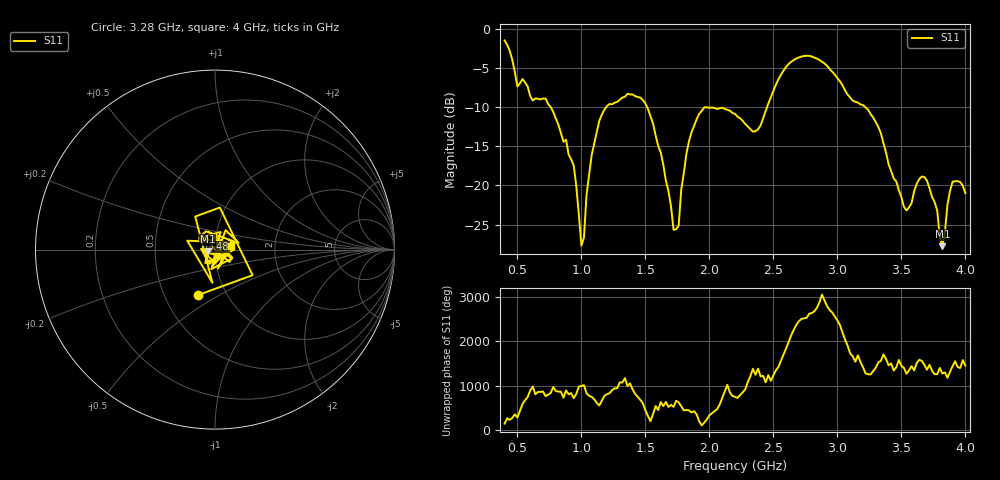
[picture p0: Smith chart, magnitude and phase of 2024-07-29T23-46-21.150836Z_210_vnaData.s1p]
!Created with skrf (http://scikit-rf.org).
# Hz S RI R 50.0
!freq ReS11 ImS11
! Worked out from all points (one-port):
!   181 points, 400 MHz to 4 GHz, reference 50 ohm
!   lowest |S11| = -27.8 dB at 3.82 GHz (marker M1), VSWR 1.09, Z = 46.2 - j0.858 ohm
!   |S11| at or under -10 dB: 760.6 MHz to 1.194 GHz (433.5 MHz wide, 44.4 % of centre); 1.513 GHz to 2.45 GHz (937 MHz wide, 47.3 % of centre); 3.218 GHz to end of sweep
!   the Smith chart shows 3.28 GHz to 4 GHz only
!   S11 on the Smith chart (normalised r, x): 3.28 GHz: 0.73, -0.40; 3.48 GHz: 0.86, +0.10; 4 GHz: 1.19, +0.04
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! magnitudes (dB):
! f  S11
! 400 MHz  -1.5
! 500 MHz  -7.4
! 720 MHz  -8.9
! 860 MHz  -14.4
! 940 MHz  -17.5
! 1 GHz  -27.7
! 1.08 GHz  -16.1
! 1.14 GHz  -11.7
! 1.3 GHz  -9.1
! 1.52 GHz  -10.2
! 1.62 GHz  -15.8
! 1.72 GHz  -25.7
! 1.76 GHz  -25.1
! 1.82 GHz  -16.0
! 1.92 GHz  -10.9
! 2.2 GHz  -10.9
! 2.38 GHz  -12.8
! 2.66 GHz  -4.0
! 2.86 GHz  -4.0
! 3.1 GHz  -8.8
! 3.28 GHz  -11.3
! 3.48 GHz  -20.6
! 3.56 GHz  -22.8
! 3.68 GHz  -18.9
! 3.78 GHz  -23.2
! 3.82 GHz  -27.8
! 3.9 GHz  -19.5
! 4 GHz  -21.0
